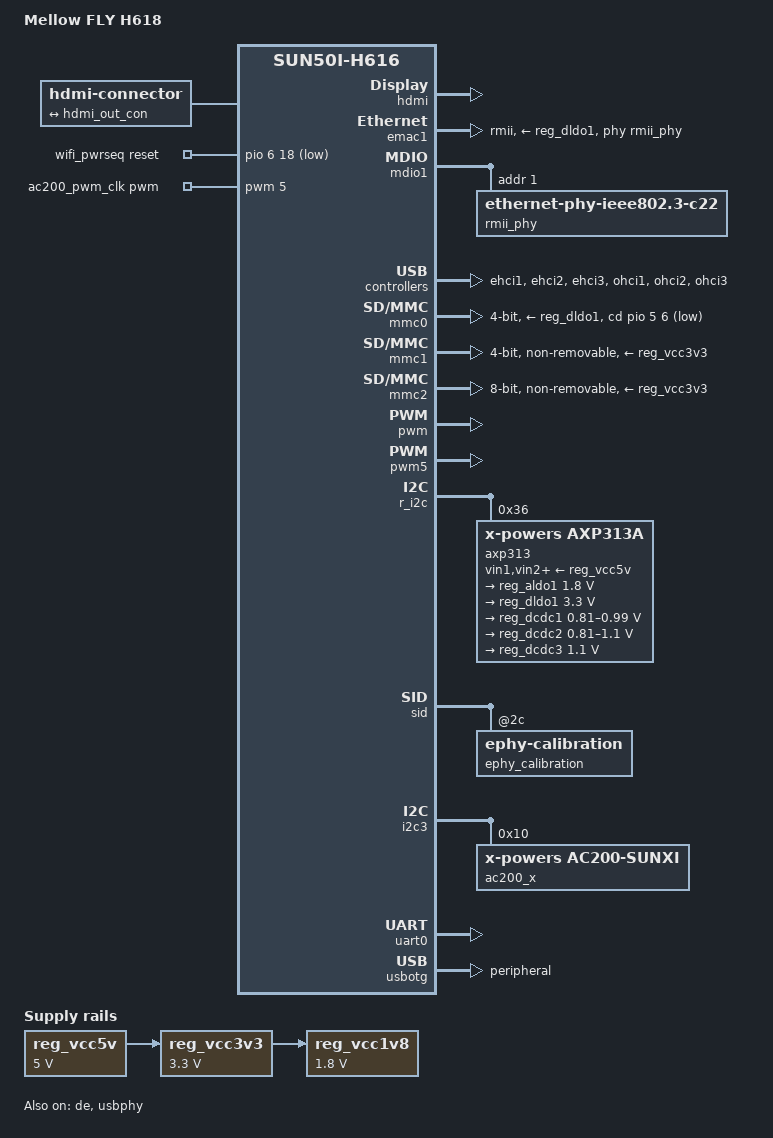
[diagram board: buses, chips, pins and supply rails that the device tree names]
// SPDX-License-Identifier: (GPL-2.0+ OR MIT)
/*
 * Copyright (c) 2024 Mellow FLY (FlyPi Lite 2)
 * Based on OrangePi Zero2W and BananaPi M4 Zero DTS
 *
 * Hardware:
 *   SoC:   Allwinner H618 (sun50i-h618)
 *   PMIC:  AXP313A on r_i2c @ 0x36
 *   EMAC1: RMII + AC200 internal EPHY (via I2C3 PA10/PA11, PWM5 clock)
 *   MMC0:  SD card (cd: PF6)
 *   MMC1:  SDIO WiFi - AIC8800D80 (non-removable, PG18 reset)
 *   MMC2:  eMMC 8-bit (non-removable)
 *   UART0: PH0/PH1 (ttyS0) - console
 *   HDMI:  enabled
 */

/dts-v1/;

#include "sun50i-h616.dtsi"
#include "sun50i-h616-cpu-opp.dtsi"

#include <dt-bindings/gpio/gpio.h>
#include <dt-bindings/leds/common.h>

/ {
	model = "Mellow FLY H618";
	compatible = "mellow,fly-h618", "allwinner,sun50i-h618", "allwinner,sun50i-h616";

	aliases {
		ethernet0 = &emac1;
		serial0 = &uart0;
	};

	chosen {
		stdout-path = "serial0:115200n8";
	};

	connector {
		compatible = "hdmi-connector";
		type = "d";

		port {
			hdmi_con_in: endpoint {
				remote-endpoint = <&hdmi_out_con>;
			};
		};
	};

	reg_vcc5v: regulator-vcc5v {
		compatible = "regulator-fixed";
		regulator-always-on;
		regulator-min-microvolt = <5000000>;
		regulator-max-microvolt = <5000000>;
		regulator-name = "vcc-5v";
	};

	reg_vcc3v3: regulator-vcc3v3 {
		compatible = "regulator-fixed";
		regulator-always-on;
		regulator-min-microvolt = <3300000>;
		regulator-max-microvolt = <3300000>;
		regulator-name = "vcc-3v3";
		vin-supply = <&reg_vcc5v>;
	};

	reg_vcc1v8: regulator-vcc1v8 {
		compatible = "regulator-fixed";
		regulator-always-on;
		regulator-min-microvolt = <1800000>;
		regulator-max-microvolt = <1800000>;
		regulator-name = "vcc-1v8";
		vin-supply = <&reg_vcc3v3>;
	};

	wifi_pwrseq: wifi-pwrseq {
		compatible = "mmc-pwrseq-simple";
		reset-gpios = <&pio 6 18 GPIO_ACTIVE_LOW>; /* PG18 */
		post-power-on-delay-ms = <200>;
	};

	/* PWM5 clock for AC200 EPHY (2MHz = 500ns period) */
	ac200_pwm_clk: ac200_clk {
		compatible = "pwm-clock";
		#clock-cells = <0>;
		pwms = <&pwm 5 500 0>;
		clock-frequency = <2000000>;
		status = "okay";
	};
};

&cpu0 {
	cpu-supply = <&reg_dcdc2>;
};

&de {
	status = "okay";
};

&hdmi {
	hvcc-supply = <&reg_aldo1>;
	status = "okay";
};

&hdmi_out {
	hdmi_out_con: endpoint {
		remote-endpoint = <&hdmi_con_in>;
	};
};

/* EMAC0 is not wired on FLY H618 */
&emac0 {
	status = "disabled";
};

/* EMAC1: RMII + AC200 internal EPHY */
&emac1 {
	pinctrl-names = "default";
	pinctrl-0 = <&rmii_pins>;
	phy-mode = "rmii";
	phy-handle = <&rmii_phy>;
	phy-supply = <&reg_dldo1>;
	allwinner,rx-delay-ps = <3100>;
	allwinner,tx-delay-ps = <700>;
	status = "okay";
};

&mdio1 {
	rmii_phy: ethernet-phy@1 {
		compatible = "ethernet-phy-ieee802.3-c22";
		reg = <1>;
	};
};

&ehci1 {
	status = "okay";
};

&ehci2 {
	status = "okay";
};

&ehci3 {
	status = "okay";
};

&ohci1 {
	status = "okay";
};

&ohci2 {
	status = "okay";
};

&ohci3 {
	status = "okay";
};

/* SD card slot */
&mmc0 {
	pinctrl-names = "default";
	pinctrl-0 = <&mmc0_pins>;
	bus-width = <4>;
	max-frequency = <50000000>;
	cd-gpios = <&pio 5 6 GPIO_ACTIVE_LOW>; /* PF6 */
	vmmc-supply = <&reg_dldo1>;
	disable-wp;
	no-1-8-v;
	status = "okay";
};

/* SDIO WiFi - AIC8800D80 */
&mmc1 {
	bus-width = <4>;
	max-frequency = <150000000>;
	non-removable;
	disable-wp;
	mmc-pwrseq = <&wifi_pwrseq>;
	vmmc-supply = <&reg_vcc3v3>;
	status = "okay";
};

/* eMMC */
&mmc2 {
	bus-width = <8>;
	max-frequency = <200000000>;
	cap-mmc-hw-reset;
	mmc-hs200-1_8v;
	non-removable;
	disable-wp;
	vmmc-supply = <&reg_vcc3v3>;
	vqmmc-supply = <&reg_vcc1v8>;
	status = "okay";
};

&pio {
	vcc-pc-supply = <&reg_aldo1>;
	vcc-pf-supply = <&reg_dldo1>;
	vcc-pg-supply = <&reg_dldo1>;
	vcc-ph-supply = <&reg_dldo1>;
	vcc-pi-supply = <&reg_dldo1>;

	/* Custom 8-bit eMMC pin configuration */
	mmc2_pins: mmc2-pins {
		pins = "PC1", "PC5", "PC6",
		       "PC8", "PC9", "PC10", "PC11",
		       "PC13", "PC14", "PC15", "PC16";
		function = "mmc2";
		drive-strength = <30>;
		bias-pull-up;
	};
};

&pwm {
	status = "okay";
};

/* PWM5 output for AC200 2MHz clock */
&pwm5 {
	pinctrl-names = "default";
	pinctrl-0 = <&pwm5_pin>;
	clk_bypass_output = <0x1>;
	status = "okay";
};

/* PMIC: AXP313A */
&r_i2c {
	status = "okay";

	axp313: pmic@36 {
		compatible = "x-powers,axp313a";
		reg = <0x36>;
		#interrupt-cells = <1>;
		interrupt-controller;
		interrupt-parent = <&pio>;

		vin1-supply = <&reg_vcc5v>;
		vin2-supply = <&reg_vcc5v>;
		vin3-supply = <&reg_vcc5v>;

		regulators {
			reg_aldo1: aldo1 {
				regulator-always-on;
				regulator-min-microvolt = <1800000>;
				regulator-max-microvolt = <1800000>;
				regulator-name = "vcc-1v8-pll";
			};

			reg_dldo1: dldo1 {
				regulator-always-on;
				regulator-min-microvolt = <3300000>;
				regulator-max-microvolt = <3300000>;
				regulator-name = "vcc-3v3-io";
			};

			reg_dcdc1: dcdc1 {
				regulator-always-on;
				regulator-min-microvolt = <810000>;
				regulator-max-microvolt = <990000>;
				regulator-name = "vdd-gpu-sys";
			};

			reg_dcdc2: dcdc2 {
				regulator-always-on;
				regulator-min-microvolt = <810000>;
				regulator-max-microvolt = <1100000>;
				regulator-name = "vdd-cpu";
			};

			reg_dcdc3: dcdc3 {
				regulator-always-on;
				regulator-min-microvolt = <1100000>;
				regulator-max-microvolt = <1100000>;
				regulator-name = "vdd-dram";
			};
		};
	};
};

/* EPHY calibration data from SID */
&sid {
	ephy_calibration: ephy-calibration@2c {
		reg = <0x2c 0x2>;
	};
};

/* AC200 MFD: EPHY + calibration */
&i2c3 {
	status = "okay";
	pinctrl-names = "default";
	pinctrl-0 = <&i2c3_pa_pins>;

	ac200_x: mfd@10 {
		compatible = "x-powers,ac200-sunxi";
		reg = <0x10>;
		clocks = <&ac200_pwm_clk>;
		nvmem-cells = <&ephy_calibration>;
		nvmem-cell-names = "calibration";

		ac200_ephy: phy {
			compatible = "x-powers,ac200-ephy-sunxi";
			status = "okay";
		};
	};
};

/* Console UART on PH0/PH1 */
&uart0 {
	pinctrl-names = "default";
	pinctrl-0 = <&uart0_ph_pins>;
	status = "okay";
};

&usbotg {
	dr_mode = "peripheral";
	status = "okay";
};

&usbphy {
	status = "okay";
};
